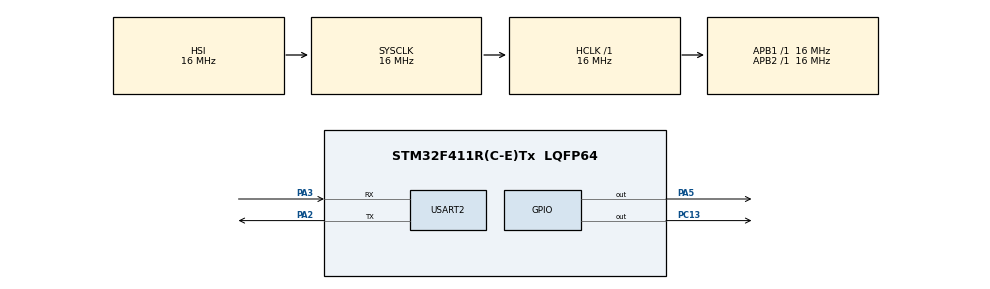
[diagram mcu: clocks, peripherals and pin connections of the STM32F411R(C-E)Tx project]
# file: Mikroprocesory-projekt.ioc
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Mcu.Family=STM32F4
Mcu.Name=STM32F411R(C-E)Tx
Mcu.Package=LQFP64
NVIC.PriorityGroup=NVIC_PRIORITYGROUP_4
NVIC.TIM2_IRQn=true\:0\:0\:false\:false\:true\:true\:true\:true
NVIC.USART2_IRQn=true\:0\:0\:false\:false\:true\:true\:true\:true
PA2.Mode=Asynchronous
PA2.Signal=USART2_TX
PA3.Mode=Asynchronous
PA3.Signal=USART2_RX
PA5.Signal=GPIO_Output
PC13-ANTI_TAMP.Signal=GPIO_Output
ProjectManager.HeapSize=0x200
ProjectManager.StackSize=0x400
ProjectManager.TargetToolchain=STM32CubeIDE
RCC.AHBFreq_Value=16000000
RCC.APB1Freq_Value=16000000
RCC.APB2Freq_Value=16000000
RCC.CortexFreq_Value=16000000
RCC.HSE_VALUE=25000000
RCC.HSI_VALUE=16000000
RCC.LSE_VALUE=32768
RCC.SYSCLKFreq_VALUE=16000000
RCC.VCOOutputFreq_Value=192000000
TIM2.Channel-Output\ Compare4\ No\ Output=TIM_CHANNEL_4
TIM2.Period=1000
TIM2.Prescaler=16000
USART2.VirtualMode=VM_ASYNC
VP_TIM2_VS_no_output4.Mode=Output Compare4 No Output
board=custom

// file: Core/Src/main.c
/* USER CODE BEGIN Header */
/**
  ******************************************************************************
  * @file           : main.c
  * @brief          : Main program body
  ******************************************************************************
  * @attention
  *
  * Copyright (c) 2024 STMicroelectronics.
  * All rights reserved.
  *
  * This software is licensed under terms that can be found in the LICENSE file
  * in the root directory of this software component.
  * If no LICENSE file comes with this software, it is provided AS-IS.
  *
  ******************************************************************************
  */
/* USER CODE END Header */
#include "main.h"
#include "frame.h"
/* USER CODE BEGIN Includes */
#include <string.h>
#include <stdio.h>
#include <stdarg.h>
#include <frame.h>  // Obsługa ramek
#include <stdlib.h> // Dla atoi
/* USER CODE END Includes */

/* USER CODE BEGIN PD */
#define SENSOR_BUFFER_SIZE 128 // Rozmiar bufora danych z czujnika
/* USER CODE END PD */

TIM_HandleTypeDef htim2;

UART_HandleTypeDef huart2;

/* USER CODE BEGIN PV */

#define USART_TXBUF_LEN 3072 // Bufor nadawczy
#define USART_RXBUF_LEN 1024 // Bufor odbiorczy
uint8_t USART_TxBuf[USART_TXBUF_LEN];
uint8_t USART_RxBuf[USART_RXBUF_LEN];

// Wskaźniki Nadawcze
__IO int USART_TX_Empty=0;
__IO int USART_TX_Busy=0;

// Wskaźniki idbiorcze
__IO int USART_RX_Empty=0;
__IO int USART_RX_Busy=0;

// Bufor danych odebranych przez czujnik
uint8_t sensorBuffer[SENSOR_BUFFER_SIZE];
volatile uint16_t sensorIndex = 0;
volatile uint8_t liveModeEnabled = 0; // Flaga trybu LIVEG

// Dodaj zmienne globalne
static FrameState frameState;

/* USER CODE END PV */

void SystemClock_Config(void);
static void MX_GPIO_Init(void);
static void MX_TIM2_Init(void);
static void MX_USART2_UART_Init(void);
void processCommand(Frame *frame);
void sendResponse(const char *message);

/* USER CODE BEGIN 0 */

// Weryfikacja, czy w buforze są nowe dane
uint8_t USART_kbhit(){
	if(USART_RX_Empty==USART_RX_Busy){
		return 0;
	}else{
		return 1;
	}
}

// Funkcja pobiera jeden znak z bufora odbiorczego
int16_t USART_getchar(){
int16_t tmp;
	if(USART_RX_Empty!=USART_RX_Busy){
		 tmp=USART_RxBuf[USART_RX_Busy];// Pobierz dane
		 USART_RX_Busy++;
		 if(USART_RX_Busy >= USART_RXBUF_LEN)USART_RX_Busy=0; // Zawijanie wskaźnika
		 return tmp; // Zwróc odebrany bajt
	}else return -1; // Brak danych
}

void USART_fsend(char* format,...){
char tmp_rs[128];
int i;
__IO int idx;
va_list arglist;

  va_start(arglist,format);
  vsprintf(tmp_rs,format,arglist); // Formatowanie danych do bufora
  va_end(arglist);

  idx=USART_TX_Empty;

  for(i=0;i<strlen(tmp_rs);i++){
	  USART_TxBuf[idx]=tmp_rs[i]; // Dane do bufora nadawczego
	  idx++;
	  if(idx >= USART_TXBUF_LEN)idx=0; // Zawijanie wskaznika
  }
  __disable_irq(); // Wylaczenie przerwan
  if((USART_TX_Empty==USART_TX_Busy)&&(__HAL_UART_GET_FLAG(&huart2,UART_FLAG_TXE)==SET)){//sprawdzic dodatkowo zajetosc bufora nadajnika
	  // Rozpocznij przesylanie jesli bufor pusty i transmisja wolna
	  USART_TX_Empty=idx;
	  uint8_t tmp = USART_TxBuf[USART_TX_Busy];
	  USART_TX_Busy++;
	  if(USART_TX_Busy >= USART_TXBUF_LEN)USART_TX_Busy=0;
	  HAL_UART_Transmit_IT(&huart2, &tmp, 1); // Wysylanie z przerwaniem
  }else{
	  USART_TX_Empty=idx; // Aktualizacja wskaznika
  }
  __enable_irq(); // Włączenie przerwań
}//fsend

// Callback na Wyslanie
void HAL_UART_TxCpltCallback(UART_HandleTypeDef *huart){
  if(huart==&huart2){
    if(USART_TX_Empty!=USART_TX_Busy){
      uint8_t tmp=USART_TxBuf[USART_TX_Busy];
      USART_TX_Busy++;
      if(USART_TX_Busy >= USART_TXBUF_LEN)USART_TX_Busy=0;
      HAL_UART_Transmit_IT(&huart2, &tmp, 1);
    }
  }
}

void sendResponse(const char *message) {
  if (!message || strlen(message) > MAX_DATA_LEN) {  // Dodanie sprawdzenia NULL
      return;
  }
  Frame responseFrame;
  // Inicjalizacja ramki odpowiedzi
  responseFrame.sourceAddress[0] = 'S';
  responseFrame.sourceAddress[1] = 'T';
  responseFrame.destinationAddress[0] = 'P';
  responseFrame.destinationAddress[1] = 'C';
  responseFrame.length = strlen(message);
  memcpy(responseFrame.data, message, responseFrame.length);

  // Użyj USART_fsend zamiast HAL_UART_Transmit
  uint8_t buffer[MAX_FRAME_BUFFER_SIZE];
  uint16_t frameLength = createFrame(buffer, &responseFrame);
  USART_fsend("%.*s", frameLength, buffer);
}

void processCommand(Frame *frame) {
    if (!frame) {  // Dodanie sprawdzenia NULL
        return;
    }

    // Sprawdź poprawność adresów
    if (memcmp(&frame->sourceAddress, "PC", 2) != 0 ||
        memcmp(&frame->destinationAddress, "ST", 2) != 0) {
        sendResponse("FAL");
        return;
    }

    if (frame->length < 3) {
        sendResponse("FAL");
        return;
    }

    if (memcmp(frame->data, "GET", 3) == 0) {
        uint16_t requestedCount = ascii_to_int(&frame->data[3]);

        if (requestedCount == 0 || requestedCount > MAX_DATA_LEN) {
            sendResponse("TMC");
            return;
        }
        if (requestedCount > sensorIndex) {
            sendResponse("TMC"); // Za dużo danych
        } else {
            // Dodać sprawdzenie przed kopiowaniem danych:
            if (requestedCount > MAX_DATA_LEN) {
                sendResponse("TMC");
                return;
            }
            Frame dataFrame;
            // Ustawiamy ST jako nadawcę odpowiedzi
            memcpy(&dataFrame.sourceAddress, "ST", 2);
            // Ustawiamy PC jako odbiorcę odpowiedzi
            memcpy(&dataFrame.destinationAddress, "PC", 2);
            dataFrame.length = requestedCount;
            memcpy(dataFrame.data, &sensorBuffer[sensorIndex - requestedCount], requestedCount);

            uint8_t buffer[512];
            uint16_t frameLength = createFrame(buffer, &dataFrame);
            HAL_UART_Transmit(&huart2, buffer, frameLength, HAL_MAX_DELAY);

            sendResponse("CPL"); // Completed
        }
    } else if (memcmp(frame->data, "LIVEG", 5) == 0) {
        liveModeEnabled = 1;
        sendResponse("CPL"); // Completed
    } else {
        sendResponse("FAL"); // Nieprawidłowa komenda
    }
}

void HAL_UART_RxCpltCallback(UART_HandleTypeDef *huart){
	 if(huart==&huart2){
		 USART_RX_Empty++;
		 if(USART_RX_Empty>=USART_RXBUF_LEN)USART_RX_Empty=0; // Zawijanie wskaznika
		 HAL_UART_Receive_IT(&huart2,&USART_RxBuf[USART_RX_Empty],1); // Kontynuacja odbioru

	 }
}

void resetFrameState() {
    frameState.inFrame = false;
    frameState.escapeDetected = false;
    frameState.bxIndex = 0;
}

void sendStatus(uint8_t status) {
    if (status == ERR_GOOD) {
        sendResponse("CPL");
    } else {
        sendResponse("FAL");
    }
}

void processReceivedChar(uint8_t receivedChar) {
    if (receivedChar == FRAME_START) {
        resetFrameState();
        frameState.inFrame = true;
        frameState.bx[frameState.bxIndex++] = receivedChar;
    }
    else if (receivedChar == FRAME_END && !frameState.escapeDetected) {
        if (frameState.inFrame) {
            frameState.bx[frameState.bxIndex++] = receivedChar;

            Frame decodedFrame;
            if (decodeFrame(&frameState, frameState.bxIndex, &decodedFrame)) {
                processCommand(&decodedFrame);
            } else {
                sendResponse("FAL"); // Błąd dekodowania
            }
            resetFrameState();
        }
    }
    else if (frameState.inFrame) {
            if (frameState.escapeDetected) {
                if (receivedChar == FRAME_START_STUFF) {
                    frameState.bx[frameState.bxIndex++] = FRAME_START;
                }
                else if (receivedChar == ESCAPE_CHAR_STUFF) {
                    frameState.bx[frameState.bxIndex++] = ESCAPE_CHAR;
                }
                else if (receivedChar == FRAME_END_STUFF) {
                    frameState.bx[frameState.bxIndex++] = FRAME_END;
                }
                else {
                    sendResponse("FAL"); // Błędna sekwencja escape
                    resetFrameState();
                }
                frameState.escapeDetected = false;
            }
            else if (receivedChar == ESCAPE_CHAR) {
                frameState.escapeDetected = true;
            }
            else {
                if (frameState.bxIndex < MAX_FRAME_WITHOUT_STUFFING) {
                    frameState.bx[frameState.bxIndex++] = receivedChar;
                } else {
                    sendResponse("FAL"); // Przepełnienie bufora
                    resetFrameState();
                }
            }
        }
        else {
            sendResponse("FAL"); // Ramka za długa
            resetFrameState();
        }
    }
}

uint16_t ascii_to_int(const uint8_t* str) {
    uint16_t result = 0;
    while (*str >= '0' && *str <= '9') {
        result = result * 10 + (*str - '0');
        str++;
    }
    return result;
}

/* USER CODE END 0 */

int main(void)
{

  /* MCU Configuration--------------------------------------------------------*/

  /* Reset of all peripherals, Initializes the Flash interface and the Systick. */
  HAL_Init();

  /* Configure the system clock */
  SystemClock_Config();

  /* Initialize all configured peripherals */
  MX_GPIO_Init();
  MX_TIM2_Init();
  MX_USART2_UART_Init();
  /* USER CODE BEGIN 2 */
  HAL_UART_Receive_IT(&huart2, &USART_RxBuf[USART_RX_Empty], 1);
 // Inicjalizacja odbioru w przerwaniach
  /* USER CODE END 2 */

  /* Infinite loop */
  /* USER CODE BEGIN WHILE */
while (1) {
    // Sprawdzamy, czy w buforze są nowe dane
    if (USART_kbhit()) {

        int16_t receivedChar = USART_getchar();
        if (receivedChar != -1) {
            processReceivedChar((uint8_t)receivedChar);
        }
    }
}

    /* USER CODE END WHILE */

}

void SystemClock_Config(void)
{
  RCC_OscInitTypeDef RCC_OscInitStruct = {0};
  RCC_ClkInitTypeDef RCC_ClkInitStruct = {0};

  /** Configure the main internal regulator output voltage
  */
  __HAL_RCC_PWR_CLK_ENABLE();
  __HAL_PWR_VOLTAGESCALING_CONFIG(PWR_REGULATOR_VOLTAGE_SCALE1);

  /** Initializes the RCC Oscillators according to the specified parameters
  * in the RCC_OscInitTypeDef structure.
  */
  RCC_OscInitStruct.OscillatorType = RCC_OSCILLATORTYPE_HSI;
  RCC_OscInitStruct.HSIState = RCC_HSI_ON;
  RCC_OscInitStruct.HSICalibrationValue = RCC_HSICALIBRATION_DEFAULT;
  RCC_OscInitStruct.PLL.PLLState = RCC_PLL_NONE;
  if (HAL_RCC_OscConfig(&RCC_OscInitStruct) != HAL_OK)
  {
    Error_Handler();
  }

  /** Initializes the CPU, AHB and APB buses clocks
  */
  RCC_ClkInitStruct.ClockType = RCC_CLOCKTYPE_HCLK|RCC_CLOCKTYPE_SYSCLK
                              |RCC_CLOCKTYPE_PCLK1|RCC_CLOCKTYPE_PCLK2;
  RCC_ClkInitStruct.SYSCLKSource = RCC_SYSCLKSOURCE_HSI;
  RCC_ClkInitStruct.AHBCLKDivider = RCC_SYSCLK_DIV1;
  RCC_ClkInitStruct.APB1CLKDivider = RCC_HCLK_DIV1;
  RCC_ClkInitStruct.APB2CLKDivider = RCC_HCLK_DIV1;

  if (HAL_RCC_ClockConfig(&RCC_ClkInitStruct, FLASH_LATENCY_0) != HAL_OK)
  {
    Error_Handler();
  }
}

static void MX_TIM2_Init(void)
{

  TIM_MasterConfigTypeDef sMasterConfig = {0};
  TIM_OC_InitTypeDef sConfigOC = {0};

  htim2.Instance = TIM2;
  htim2.Init.Prescaler = 16000;
  htim2.Init.CounterMode = TIM_COUNTERMODE_UP;
  htim2.Init.Period = 1000;
  htim2.Init.ClockDivision = TIM_CLOCKDIVISION_DIV1;
  htim2.Init.AutoReloadPreload = TIM_AUTORELOAD_PRELOAD_DISABLE;
  if (HAL_TIM_OC_Init(&htim2) != HAL_OK)
  {
    Error_Handler();
  }
  sMasterConfig.MasterOutputTrigger = TIM_TRGO_RESET;
  sMasterConfig.MasterSlaveMode = TIM_MASTERSLAVEMODE_DISABLE;
  if (HAL_TIMEx_MasterConfigSynchronization(&htim2, &sMasterConfig) != HAL_OK)
  {
    Error_Handler();
  }
  sConfigOC.OCMode = TIM_OCMODE_TIMING;
  sConfigOC.Pulse = 0;
  sConfigOC.OCPolarity = TIM_OCPOLARITY_HIGH;
  sConfigOC.OCFastMode = TIM_OCFAST_DISABLE;
  if (HAL_TIM_OC_ConfigChannel(&htim2, &sConfigOC, TIM_CHANNEL_4) != HAL_OK)
  {
    Error_Handler();
  }

}

static void MX_USART2_UART_Init(void)
{

  huart2.Instance = USART2;
  huart2.Init.BaudRate = 115200;
  huart2.Init.WordLength = UART_WORDLENGTH_8B;
  huart2.Init.StopBits = UART_STOPBITS_1;
  huart2.Init.Parity = UART_PARITY_NONE;
  huart2.Init.Mode = UART_MODE_TX_RX;
  huart2.Init.HwFlowCtl = UART_HWCONTROL_NONE;
  huart2.Init.OverSampling = UART_OVERSAMPLING_16;
  if (HAL_UART_Init(&huart2) != HAL_OK)
  {
    Error_Handler();
  }

}

static void MX_GPIO_Init(void)
{
  GPIO_InitTypeDef GPIO_InitStruct = {0};

  /* GPIO Ports Clock Enable */
  __HAL_RCC_GPIOC_CLK_ENABLE();
  __HAL_RCC_GPIOA_CLK_ENABLE();

  /*Configure GPIO pin Output Level */
  HAL_GPIO_WritePin(GPIOC, GPIO_PIN_13, GPIO_PIN_RESET);

  /*Configure GPIO pin Output Level */
  HAL_GPIO_WritePin(GPIOA, GPIO_PIN_5, GPIO_PIN_RESET);

  /*Configure GPIO pin : PC13 */
  GPIO_InitStruct.Pin = GPIO_PIN_13;
  GPIO_InitStruct.Mode = GPIO_MODE_OUTPUT_PP;
  GPIO_InitStruct.Pull = GPIO_NOPULL;
  GPIO_InitStruct.Speed = GPIO_SPEED_FREQ_LOW;
  HAL_GPIO_Init(GPIOC, &GPIO_InitStruct);

  /*Configure GPIO pin : PA5 */
  GPIO_InitStruct.Pin = GPIO_PIN_5;
  GPIO_InitStruct.Mode = GPIO_MODE_OUTPUT_PP;
  GPIO_InitStruct.Pull = GPIO_NOPULL;
  GPIO_InitStruct.Speed = GPIO_SPEED_FREQ_LOW;
  HAL_GPIO_Init(GPIOA, &GPIO_InitStruct);

}

void Error_Handler(void)
{
  __disable_irq();
  while (1)
  {
  }
}
